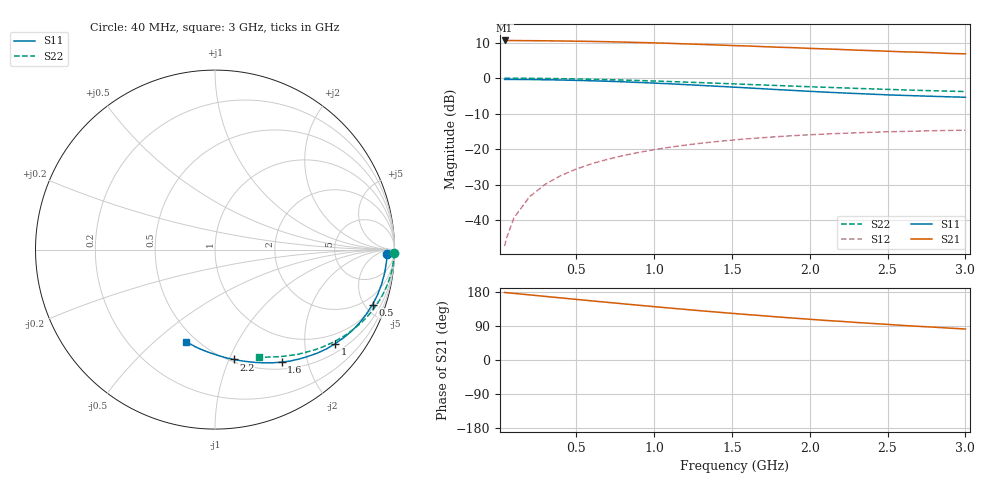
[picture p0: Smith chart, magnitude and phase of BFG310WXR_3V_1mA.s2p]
! Filename: 31BFG310WXR.s2p
! Title: BFG310WXR,RN20042071,Lot:TT3082,B:X1104,Sl.:3
! Bias: VCE=2.999V; IC=0.9993mA;
! Company: Philips Semiconductors NL
! User: Q&R DSC-N
! Measure time: 29 Mar 2004 / 13:20:22
#  MHz  S  MA  R 50
! Freq  S11  S21  S12  S22  :
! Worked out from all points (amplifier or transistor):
!   32 points, 40 MHz to 3 GHz, reference 50 ohm
!   highest |S21| = 10.6 dB at 40 MHz (marker M1)
!   |S21| within 3 dB of that: start of sweep to 2.484 GHz
!   unconditionally stable (mu >= 1): nowhere
!   at 400 MHz: K = 0.12, MSG = 18.9 dB, |S12| = -27.4 dB
!   at 1.5 GHz: K = 0.41, MSG = 13.3 dB, |S12| = -17.4 dB
!   at 3 GHz: K = 0.66, MSG = 10.7 dB, |S12| = -14.6 dB
!   S11 on the Smith chart (normalised r, x): 40 MHz: 34, -22; 500 MHz: 1.25, -5.63; 1 GHz: 0.72, -2.73; 1.6 GHz: 0.59, -1.59; 2.2 GHz: 0.52, -1.04; 3 GHz: 0.44, -0.64
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40  0.9592 -1.5  3.385 178.2  0.004334 89.1  0.9986 -1.1
50  0.9593 -2.0  3.379 177.8  0.005438 88.3  0.9985 -1.3
100  0.9581 -3.9  3.373 175.9  0.01085 86.7  0.9975 -2.7
200  0.9544 -7.7  3.36 171.9  0.02145 83.6  0.9944 -5.5
300  0.9483 -11.6  3.349 167.9  0.03207 80.6  0.9892 -8.2
400  0.9404 -15.4  3.328 163.9  0.04251 77.5  0.9822 -10.9
500  0.9296 -19.3  3.304 160.0  0.05268 74.5  0.9733 -13.6
600  0.9168 -23.1  3.28 156.0  0.06253 71.6  0.9632 -16.3
800  0.8875 -30.6  3.211 148.3  0.08134 66.0  0.9391 -21.5
1000  0.8507 -38.0  3.132 140.8  0.09854 60.5  0.9108 -26.6
1100  0.832 -41.7  3.083 137.1  0.1066 57.9  0.8952 -29.1
1300  0.7898 -48.8  2.981 129.9  0.1215 52.9  0.8639 -34.0
1400  0.7692 -52.5  2.929 126.6  0.128 50.5  0.8479 -36.4
1600  0.7286 -59.4  2.83 119.9  0.1404 45.8  0.816 -41.0
1800  0.6883 -66.5  2.717 113.4  0.1506 41.6  0.7859 -45.4
1900  0.6701 -69.9  2.678 110.5  0.1555 39.5  0.7707 -47.5
2100  0.6356 -77.0  2.574 104.5  0.1636 35.8  0.7437 -51.7
2200  0.6207 -80.4  2.527 101.9  0.1671 34.1  0.7303 -53.6
2400  0.5943 -87.2  2.435 96.4  0.1732 30.6  0.7054 -57.4
2600  0.572 -94.1  2.342 91.2  0.1777 27.5  0.6835 -61.0
2700  0.5625 -97.4  2.315 88.8  0.18 25.8  0.673 -62.8
3000  0.539 -107.2  2.197 81.8  0.1852 21.8  0.647 -67.8
